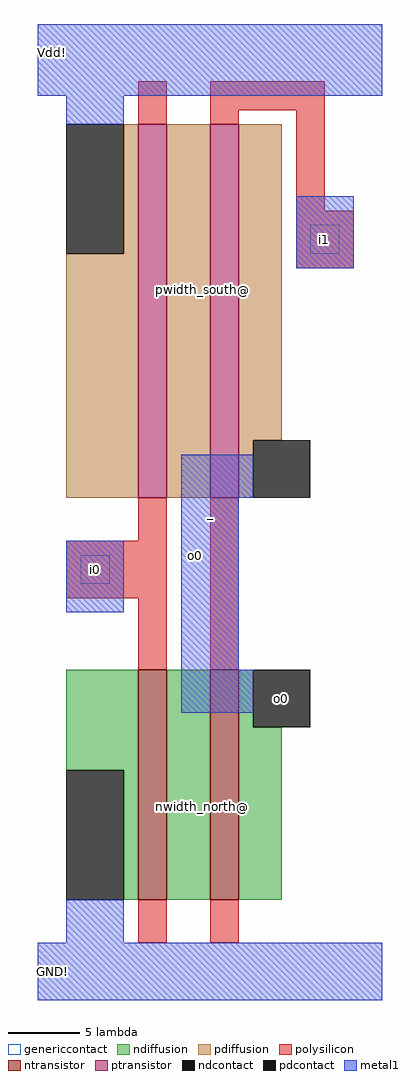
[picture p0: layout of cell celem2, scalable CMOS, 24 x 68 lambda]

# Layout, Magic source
magic
tech scmos
<< ntransistor >>
rect 5 4 7 20
rect 10 4 12 20
<< ptransistor >>
rect 5 32 7 58
rect 10 32 12 58
<< ndiffusion >>
rect 0 13 5 20
rect 4 4 5 13
rect 7 4 10 20
rect 12 16 13 20
rect 12 4 15 16
<< pdiffusion >>
rect 4 49 5 58
rect 0 32 5 49
rect 7 32 10 58
rect 12 36 15 58
rect 12 32 13 36
<< ndcontact >>
rect 0 4 4 13
rect 13 16 17 20
<< pdcontact >>
rect 0 49 4 58
rect 13 32 17 36
<< polysilicon >>
rect 5 58 7 61
rect 10 59 18 61
rect 10 58 12 59
rect 16 52 18 59
rect 16 48 20 52
rect 5 29 7 32
rect 0 25 7 29
rect 5 20 7 25
rect 10 20 12 32
rect 5 1 7 4
rect 10 1 12 4
<< genericcontact >>
rect 17 49 19 51
rect 1 26 3 28
<< metal1 >>
rect -2 60 22 65
rect 0 58 4 60
rect 16 48 20 53
rect 8 32 13 35
rect 0 24 4 29
rect 8 20 12 32
rect 8 17 13 20
rect 0 1 4 4
rect -2 -3 22 1
<< labels >>
rlabel metal1 -1 -1 -1 -1 2 GND!
rlabel metal1 -1 63 -1 63 3 Vdd!
rlabel metal1 2 27 2 27 1 i0
rlabel metal1 18 50 18 50 1 i1
rlabel pdiffusion 4 35 15 58 1 pwidth_south@
rlabel space -2 -5 22 67 1 _
rlabel ndiffusion 4 4 15 17 5 nwidth_north@
rlabel ndcontact 15 18 15 18 1 o0
rlabel metal1 9 28 9 28 1 o0
<< end >>
